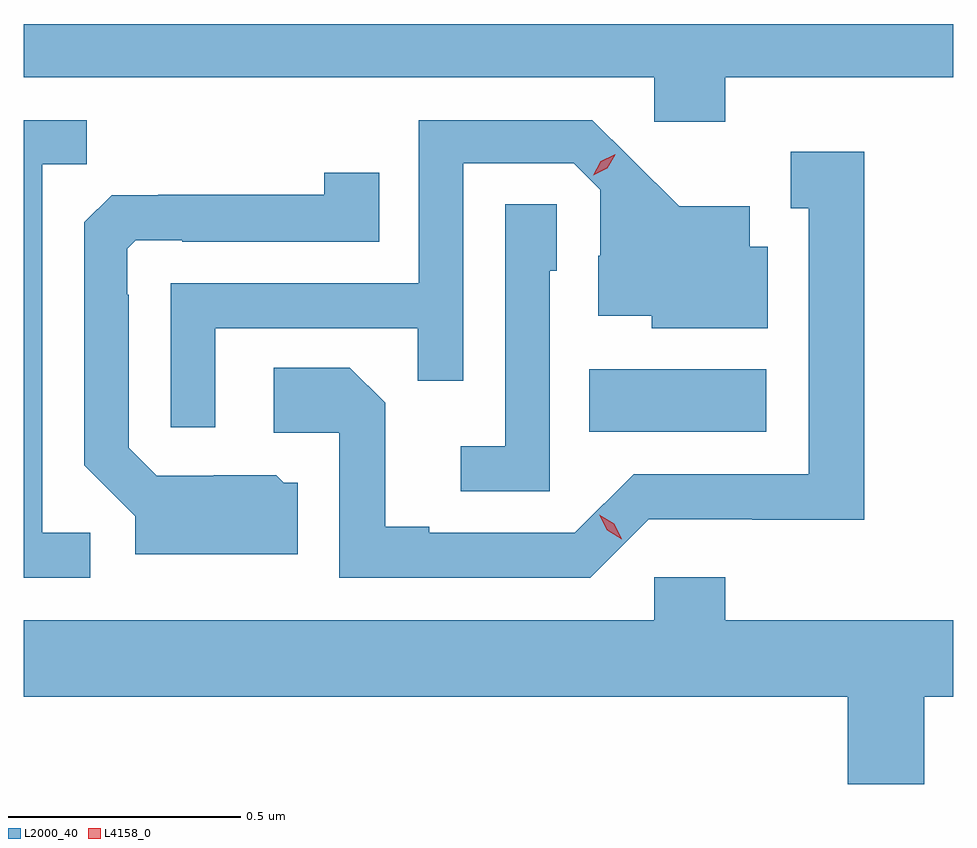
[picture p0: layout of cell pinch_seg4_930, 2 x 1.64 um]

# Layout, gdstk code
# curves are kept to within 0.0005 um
import gdstk
lib = gdstk.Library(unit=1e-6, precision=1e-09)
def R(c, l, rs):  # rectangles x0, y0, x1, y1
    for r in rs: c.add(gdstk.rectangle(r[:2], r[2:], *l))
def P(c, l, *ps):  # polygons
    for p in ps: c.add(gdstk.Polygon(p, *l))
L2000_40 = (2000, 40)
L4158_0 = (4158, 0)

pinch_seg4_930 = lib.new_cell('pinch_seg4_930')
R(pinch_seg4_930, L2000_40, [(739.876,828.026,740.257,828.16)])
P(pinch_seg4_930, L2000_40, [(740.659,828.903),(738.659,828.903),(738.659,828.788),(740.016,828.788),(740.016,828.693),(740.168,828.693),(740.168,828.788),(740.659,828.788)],
  [(738.802,827.808),(738.699,827.808),(738.699,828.601),(738.795,828.601),(738.795,828.696),(738.659,828.696),(738.659,827.712),(738.802,827.712)],
  [(739.071,828.249),(739.507,828.249),(739.507,828.136),(739.605,828.136),(739.605,828.603),(739.842,828.603),(739.899,828.546),(739.899,828.404),(739.895,828.404),(739.895,828.275),(740.01,828.275),(740.01,828.248),(740.26,828.248),(740.26,828.424),(740.221,828.424),(740.221,828.511),(740.069,828.511),(739.882,828.696),(739.509,828.696),(739.509,828.345),(738.975,828.345),(738.975,828.036),(739.071,828.036)],
  [(740.004,827.838),(740.226,827.838),(740.226,827.837),(740.467,827.837),(740.467,828.628),(740.309,828.628),(740.309,828.507),(740.348,828.507),(740.348,827.934),(739.971,827.934),(739.845,827.808),(739.531,827.808),(739.531,827.821),(739.437,827.821),(739.437,828.088),(739.361,828.164),(739.197,828.164),(739.197,828.024),(739.338,828.024),(739.338,827.712),(739.878,827.712)],
  [(739.249,827.916),(739.218,827.916),(739.202,827.932),(739.068,827.932),(739.068,827.931),(738.945,827.931),(738.885,827.991),(738.885,828.32),(738.882,828.32),(738.882,828.42),(738.9,828.438),(739,828.438),(739,828.435),(739.424,828.435),(739.424,828.583),(739.306,828.583),(739.306,828.536),(738.949,828.536),(738.949,828.535),(738.848,828.535),(738.789,828.476),(738.789,827.954),(738.899,827.844),(738.899,827.762),(739.249,827.762)],
  [(739.791,828.372),(739.806,828.372),(739.806,828.515),(739.695,828.515),(739.695,827.995),(739.599,827.995),(739.599,827.898),(739.791,827.898)],
  [(740.596,827.456),(740.659,827.456),(740.659,827.62),(740.168,827.62),(740.168,827.713),(740.016,827.713),(740.016,827.62),(738.659,827.62),(738.659,827.456),(740.432,827.456),(740.432,827.268),(740.596,827.268)])
P(pinch_seg4_930, L4158_0, [(739.946,827.795),(739.914,827.814),(739.897,827.847),(739.897,827.847),(739.897,827.847),(739.929,827.828),(739.946,827.795),(739.946,827.795)],
  [(739.884,828.578),(739.884,828.578),(739.901,828.608),(739.932,828.623),(739.932,828.623),(739.932,828.622),(739.914,828.593),(739.884,828.578)])

lib.write_gds('pinch_seg4_930.gds')
